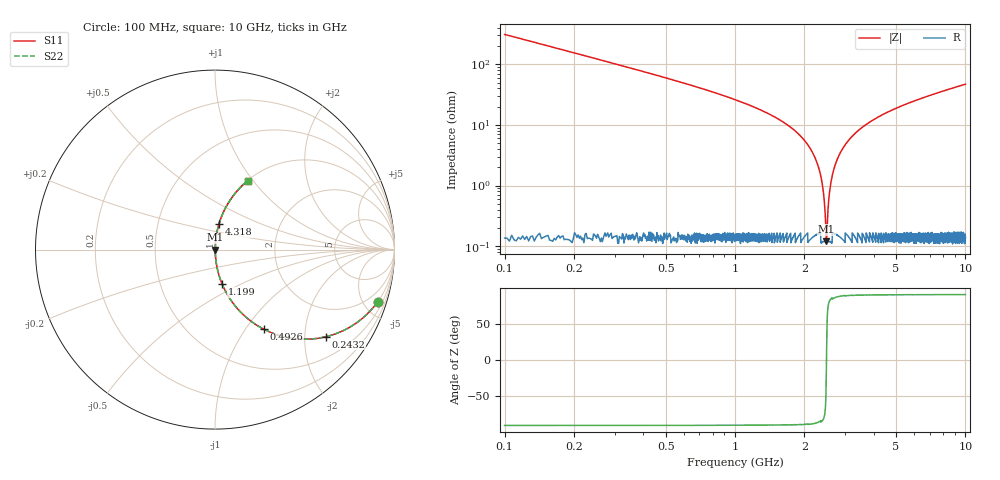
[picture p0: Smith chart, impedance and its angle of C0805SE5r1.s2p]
! AVX Thin Film Operation		Date: April 2012
! Description: Accu-P® Series, Thin Film, SMD, RF Capacitor
! Part Number: 08051J5R1ABTTR
!	100	MHz	-	10.05	GHz
!	Serial	Measurements
#	MHZ	S	MA	R	50
!	S11	S21	S12	S22
!	dB	Phase	dB	Phase	dB	Phase	dB	Phase
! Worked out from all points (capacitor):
!   4010 points, 100 MHz to 10 GHz, reference 50 ohm
!   read as one part in series: C = 5.1 pF near 149.4 MHz
!   lowest |Z| = 120 mohm at 2.495 GHz (marker M1)
!   series resonance near 2.494 GHz, so ESL is about 800 pH
!   S11 on the Smith chart (normalised r, x): 100 MHz: 1.00, -6.23; 243.2 MHz: 1.00, -2.54; 492.6 MHz: 1.00, -1.22; 1.199 GHz: 1.00, -0.40; 4.318 GHz: 1.00, +0.29; 10 GHz: 1.00, +0.94
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100  0.952 -17.8  0.306 72.2  0.306 72.2  0.952 -17.8
243.228  0.785 -38.2  0.618 51.8  0.618 51.8  0.785 -38.2
492.642  0.519 -58.6  0.853 31.3  0.853 31.3  0.519 -58.6
771.689  0.343 -69.7  0.938 20.1  0.938 20.1  0.343 -69.7
1198.902  0.196 -78.3  0.979 11.3  0.979 11.3  0.196 -78.3
1752.058  0.09 -84.0  0.995 5.2  0.995 5.2  0.09 -84.0
2063.208  0.048 -85.6  0.997 2.7  0.997 2.7  0.048 -85.6
2265.702  0.024 -85.3  0.998 1.4  0.998 1.4  0.024 -85.3
2381.766  0.012 -82.4  0.999 0.7  0.999 0.7  0.012 -82.4
2463.258  0.00345 -65.9  0.999 0.2  0.999 0.2  0.00345 -65.9
2495.36  0.0014 3.5  0.999 -0.0  0.999 -0.0  0.0014 3.5
2524.994  0.00334 65.1  0.999 -0.2  0.999 -0.2  0.00334 65.1
2574.383  0.008 79.5  0.999 -0.5  0.999 -0.5  0.008 79.5
2616.363  0.012 82.6  0.999 -0.7  0.999 -0.7  0.012 82.6
2757.121  0.025 85.4  0.998 -1.4  0.998 -1.4  0.025 85.4
3016.413  0.048 85.6  0.997 -2.7  0.997 -2.7  0.048 85.6
3401.646  0.079 84.5  0.996 -4.5  0.996 -4.5  0.079 84.5
4317.81  0.143 81.2  0.988 -8.2  0.988 -8.2  0.143 81.2
5051.235  0.188 78.8  0.981 -10.8  0.981 -10.8  0.188 78.8
6700.823  0.278 73.6  0.959 -16.1  0.959 -16.1  0.278 73.6
8350.412  0.356 68.9  0.933 -20.9  0.933 -20.9  0.356 68.9
10000  0.425 64.7  0.904 -25.2  0.904 -25.2  0.425 64.7
